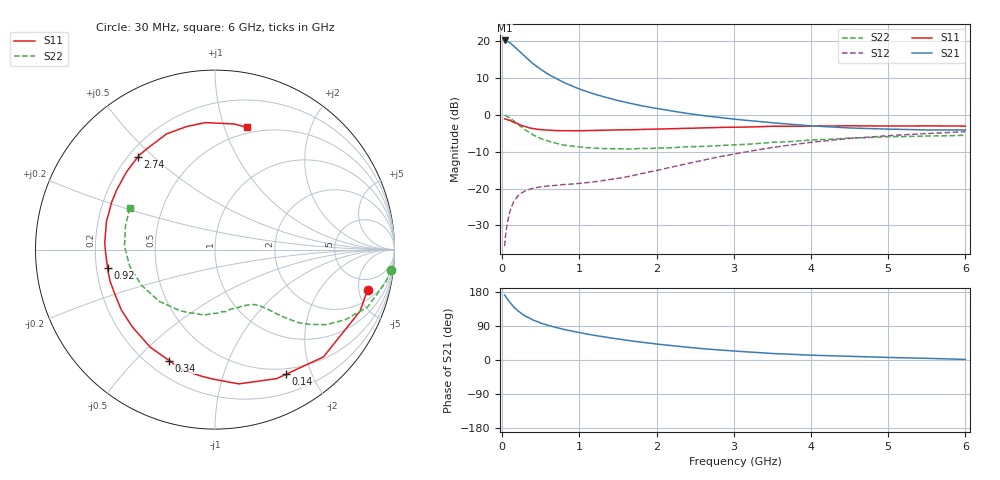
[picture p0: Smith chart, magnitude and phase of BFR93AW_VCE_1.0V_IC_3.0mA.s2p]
! Infineon Technologies  Discrete & RF Semiconductors
! BFR93AW
! VCE =  1.0 V,  IC =  3.0 mA
! Common Emitter S-Parameters:  Nov 2015
# GHz  S  MA  R  50
!  f  S11  S21  S12  S22
! GHz  MAG  ANG  MAG  ANG  MAG  ANG  MAG  ANG
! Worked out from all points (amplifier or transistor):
!   206 points, 30 MHz to 6 GHz, reference 50 ohm
!   highest |S21| = 20.2 dB at 30 MHz (marker M1)
!   |S21| within 3 dB of that: start of sweep to 224.2 MHz
!   unconditionally stable (mu >= 1): 1.072 GHz to 2.679 GHz; 5.702 GHz to end of sweep
!   at 200 MHz: K = 0.22, MSG = 19.9 dB, |S12| = -22.1 dB
!   at 1.56 GHz: K = 1.16, MAG = 7.9 dB, |S12| = -17.0 dB
!   at 6 GHz: K = 1.00, MAG = -0.2 dB, |S12| = -4.6 dB
!   S11 on the Smith chart (normalised r, x): 30 MHz: 3.11, -6.16; 140 MHz: 0.43, -1.64; 340 MHz: 0.28, -0.63; 920 MHz: 0.25, -0.08; 2.74 GHz: 0.24, +0.44; 6 GHz: 0.44, +1.19
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0.03  0.8791 -14.8  10.2 171.2  0.0165 79.7  0.9884 -6.6
0.05  0.8779 -23.0  10.1 165.1  0.0266 77.5  0.968 -10.9
0.1  0.8499 -44.7  9.521 151.6  0.0495 66.9  0.9084 -20.6
0.14  0.7997 -60.3  8.727 142.2  0.063 59.1  0.8413 -26.5
0.15  0.797 -64.4  8.569 139.6  0.0665 57.6  0.826 -28.1
0.2  0.7597 -80.0  7.661 130.1  0.0788 50.7  0.75 -33.9
0.24  0.7212 -91.0  6.955 123.8  0.0855 46.5  0.6922 -37.1
0.3  0.6939 -105.4  6.073 115.5  0.0932 41.5  0.6222 -41.0
0.34  0.6692 -112.4  5.591 111.9  0.0963 39.6  0.5868 -42.3
0.4  0.6525 -123.6  4.918 105.2  0.1011 36.9  0.5343 -44.6
0.5  0.6305 -136.9  4.126 97.2  0.1057 34.4  0.475 -47.1
0.54  0.6242 -141.0  3.879 94.9  0.1068 34.0  0.4597 -47.7
0.7  0.6108 -155.8  3.09 85.5  0.1106 33.7  0.4104 -50.7
0.92  0.6076 -170.1  2.418 75.5  0.1152 36.3  0.3741 -54.9
1.04  0.6082 -176.5  2.163 70.7  0.1188 38.2  0.3623 -58.0
1.5  0.6252 165.1  1.559 55.4  0.1374 47.4  0.347 -70.8
2.02  0.6407 148.7  1.209 41.6  0.1775 55.4  0.354 -87.7
2.74  0.6709 130.0  0.939 27.5  0.2603 57.4  0.3784 -111.5
3.1  0.6801 121.5  0.853 22.3  0.3061 55.2  0.395 -123.1
4.1  0.7036 101.2  0.699 12.1  0.4336 44.0  0.4585 -157.2
5.1  0.7046 86.0  0.636 6.2  0.5289 30.4  0.505 175.1
6  0.7031 75.5  0.624 1.5  0.59 19.2  0.5279 154.0
